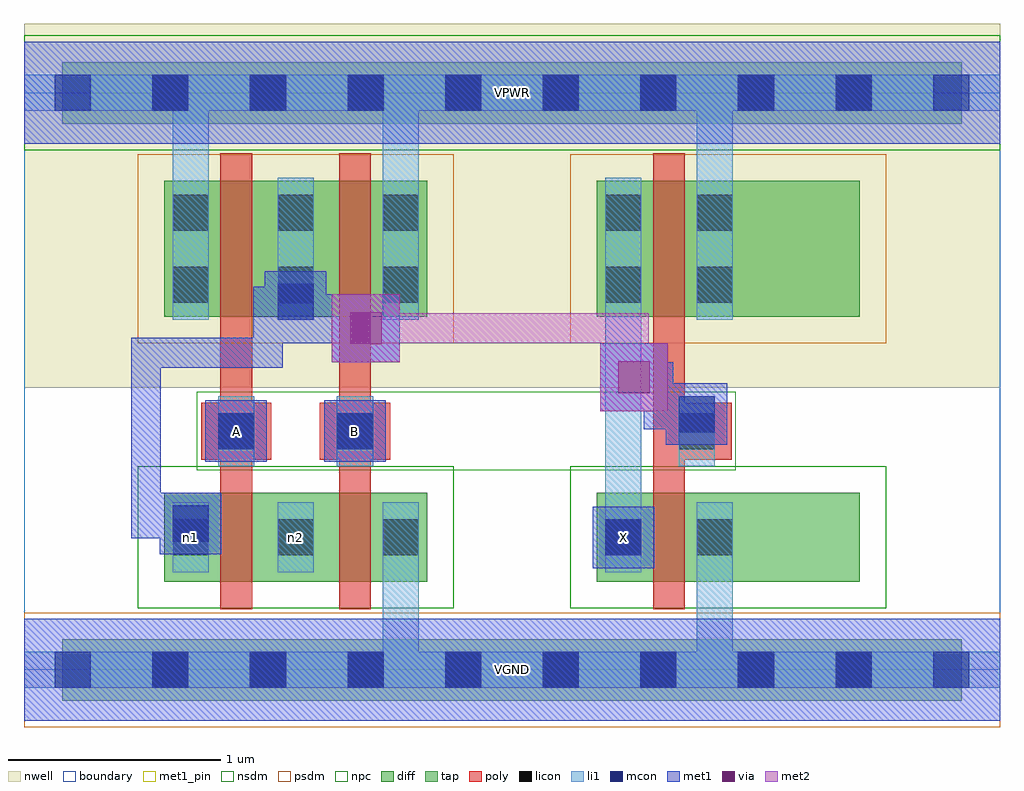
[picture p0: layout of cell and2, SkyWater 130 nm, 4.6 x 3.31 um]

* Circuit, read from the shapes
.subckt and2 A B VGND VPWR X n1 n2
XM1 n2 A n1 VGND sky130_fd_pr__nfet_01v8 w=0.42 l=0.15
XM2 VGND B n2 VGND sky130_fd_pr__nfet_01v8 w=0.42 l=0.15
XM3 VGND n1 X VGND sky130_fd_pr__nfet_01v8 w=0.42 l=0.15
XM4 n1 A VPWR VPWR sky130_fd_pr__pfet_01v8 w=0.64 l=0.15
XM5 VPWR B n1 VPWR sky130_fd_pr__pfet_01v8 w=0.64 l=0.15
XM6 VPWR n1 X VPWR sky130_fd_pr__pfet_01v8 w=0.64 l=0.15
.ends

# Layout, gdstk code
import gdstk
lib = gdstk.Library(unit=1e-6, precision=1e-09)
def R(c, l, rs):  # rectangles x0, y0, x1, y1
    for r in rs: c.add(gdstk.rectangle(r[:2], r[2:], *l))
def A(c, l, x, y, w, h, nx, ny, dx, dy):  # array of equal rectangles
    R(c, l, [(x+i*dx, y+j*dy, x+i*dx+w, y+j*dy+h) for i in range(nx) for j in range(ny)])
nwell = (64, 20)
diff = (65, 20)
tap = (65, 44)
poly = (66, 20)
licon = (66, 44)
li1 = (67, 20)
mcon = (67, 44)
met1_pin = (68, 16)
met1 = (68, 20)
via = (68, 44)
met2 = (69, 20)
nsdm = (93, 44)
psdm = (94, 20)
npc = (95, 20)
boundary = (235, 4)

and2 = lib.new_cell('and2')
R(and2, nwell, [(0,1.33,4.6,3.045)])
R(and2, diff, [(0.66,0.415,1.9,0.835), (2.7,0.415,3.94,0.835), (0.66,1.665,1.9,2.305), (2.7,1.665,3.94,2.305)])
R(and2, tap, [(0.18,-0.145,4.42,0.145), (0.18,2.575,4.42,2.865)])
R(and2, poly, [(0.925,0.285,1.075,2.435), (1.485,0.285,1.635,2.435), (2.965,0.285,3.115,2.435), (0.835,0.99,1.165,1.26), (1.395,0.99,1.725,1.26), (3.005,0.99,3.335,1.26)])
A(and2, licon, 0.605, -0.085, 0.17, 0.17, 8, 2, 0.46, 2.72)
A(and2, licon, 0.7, 0.54, 0.17, 0.17, 3, 2, 0.495, 1.19)
A(and2, licon, 0.7, 2.07, 0.17, 0.17, 3, 1, 0.495, 0)
R(and2, licon, [(2.74,0.54,2.91,0.71), (3.17,0.54,3.34,0.71), (0.915,1.04,1.085,1.21), (1.475,1.04,1.645,1.21), (3.085,1.04,3.255,1.21), (2.74,1.73,2.91,1.9), (3.17,1.73,3.34,1.9), (2.74,2.07,2.91,2.24), (3.17,2.07,3.34,2.24)])
A(and2, li1, 0.7, 0.46, 0.17, 0.33, 3, 1, 0.495, 0)
A(and2, li1, 0.7, 1.65, 0.17, 0.67, 3, 1, 0.495, 0)
R(and2, li1, [(0,-0.085,4.6,0.085), (1.69,-0.085,1.86,0.79), (3.17,-0.085,3.34,0.79), (2.74,0.46,2.91,0.79), (2.74,0.46,2.91,2.32), (3.17,0.46,3.34,0.79), (0.915,0.96,1.085,1.29), (1.475,0.96,1.645,1.29), (3.085,0.96,3.255,1.29), (0.7,1.65,0.87,2.805), (1.69,1.65,1.86,2.805), (2.74,1.65,2.91,2.32), (3.17,1.65,3.34,2.32), (3.17,1.65,3.34,2.805), (0,2.635,4.6,2.805)])
A(and2, mcon, 0.145, -0.085, 0.17, 0.17, 10, 2, 0.46, 2.72)
R(and2, mcon, [(2.74,0.54,2.91,0.71), (0.7,0.605,0.87,0.775), (0.915,1.04,1.085,1.21), (1.475,1.04,1.645,1.21), (3.085,1.12,3.255,1.29), (1.195,1.65,1.365,1.82)])
R(and2, met1_pin, [(0,-0.24,4.6,0.24), (2.68,0.48,2.97,0.77), (0.855,0.98,1.145,1.27), (1.415,0.98,1.705,1.27), (0,2.48,4.6,2.96)])
R(and2, met1, [(0,-0.24,4.6,0.24), (2.68,0.48,2.97,0.77), (0.64,0.545,0.93,0.835), (0.505,0.62,0.76,0.76), (0.505,0.62,0.645,1.565), (0.62,0.62,0.855,0.76), (0.855,0.98,1.145,1.27), (1.415,0.98,1.705,1.27), (3.025,1.06,3.315,1.35), (2.92,1.135,3.24,1.275), (2.92,1.135,3.06,1.45), (2.715,1.22,3.035,1.54), (2.805,1.31,3.06,1.45), (0.505,1.425,1.22,1.565), (1.08,1.425,1.22,1.68), (1.45,1.45,1.77,1.77), (1.08,1.54,1.22,1.805), (1.08,1.54,1.68,1.68), (1.135,1.59,1.425,1.88), (1.425,1.59,1.45,1.77), (1.08,1.665,1.35,1.805), (1.35,1.665,1.45,1.77), (0,2.48,4.6,2.96)])
R(and2, via, [(2.8,1.305,2.95,1.455), (1.535,1.535,1.685,1.685)])
R(and2, met2, [(2.715,1.22,3.035,1.54), (2.805,1.31,2.945,1.68), (1.45,1.45,1.77,1.77), (1.54,1.54,2.945,1.68)])
R(and2, nsdm, [(0.535,0.29,2.025,0.96), (2.575,0.29,4.065,0.96), (0,2.45,4.6,2.99)])
R(and2, psdm, [(0,-0.27,4.6,0.27), (0.535,1.54,2.025,2.43), (2.575,1.54,4.065,2.43)])
R(and2, npc, [(0.815,0.94,3.355,1.31)])
R(and2, boundary, [(0,0,4.6,2.72)])
and2.add(gdstk.Label('n1', (0.785,0.625), layer=67, texttype=5))
and2.add(gdstk.Label('n2', (1.28,0.625), layer=67, texttype=5))
and2.add(gdstk.Label('A', (1,1.125), layer=68, texttype=5))
and2.add(gdstk.Label('B', (1.56,1.125), layer=68, texttype=5))
and2.add(gdstk.Label('X', (2.825,0.625), layer=68, texttype=5))
and2.add(gdstk.Label('VPWR', (2.3,2.72), layer=68, texttype=5))
and2.add(gdstk.Label('VGND', (2.3,0), layer=68, texttype=5))
and2.add(gdstk.Label('A', (1,1.125), layer=68, texttype=16))
and2.add(gdstk.Label('B', (1.56,1.125), layer=68, texttype=16))
and2.add(gdstk.Label('X', (2.825,0.625), layer=68, texttype=16))
and2.add(gdstk.Label('VPWR', (2.3,2.72), layer=68, texttype=16))
and2.add(gdstk.Label('VGND', (2.3,0), layer=68, texttype=16))

lib.write_gds('and2.gds')
